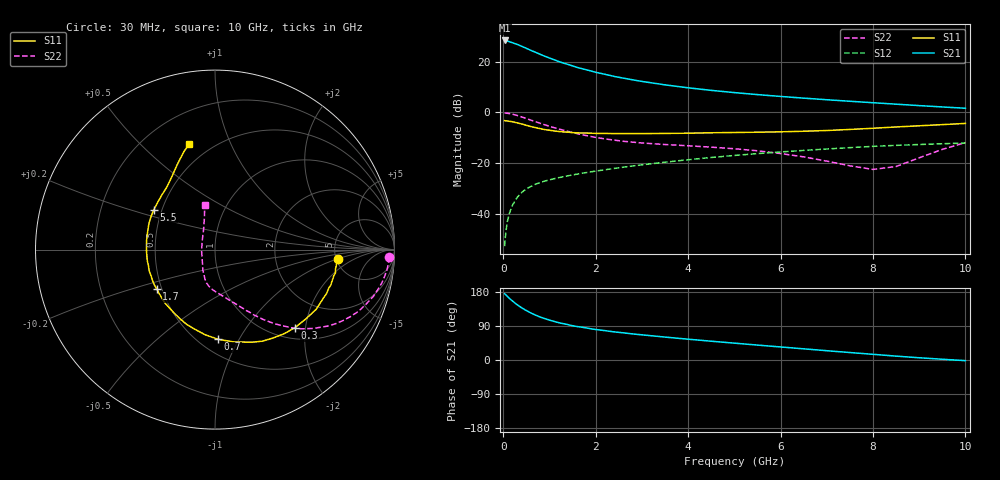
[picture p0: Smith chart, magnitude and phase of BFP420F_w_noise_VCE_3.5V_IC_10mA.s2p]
! Infineon Technologies  Discrete & RF Semiconductors
! BFP420F
! VCE =  3.5 V,  IC =  10 mA
! Common Emitter S-Parameters:  Sep 2011
# GHz  S  MA  R  50
!  f  S11  S21  S12  S22
! GHz  MAG  ANG  MAG  ANG  MAG  ANG  MAG  ANG
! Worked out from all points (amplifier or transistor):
!   54 points, 30 MHz to 10 GHz, reference 50 ohm
!   highest |S21| = 28.4 dB at 30 MHz (marker M1)
!   |S21| within 3 dB of that: start of sweep to 487.3 MHz
!   unconditionally stable (mu >= 1): 2.094 GHz to end of sweep
!   at 120 MHz: K = 0.21, MSG = 34.5 dB, |S12| = -40.9 dB
!   at 1.3 GHz: K = 0.74, MSG = 22.4 dB, |S12| = -25.4 dB
!   at 10 GHz: K = 1.29, MAG = 3.7 dB, |S12| = -12.1 dB
!   lowest NFmin = 1.18 dB at 450 MHz
!   S11 on the Smith chart (normalised r, x): 30 MHz: 5.17, -1.03; 300 MHz: 1.23, -1.75; 700 MHz: 0.62, -0.82; 1.7 GHz: 0.47, -0.24; 5.5 GHz: 0.45, +0.24; 10 GHz: 0.38, +0.71
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0.03  0.6868 -4.4  26.22 175.1  0.0023 75.8  0.9707 -2.5
0.05  0.6819 -7.0  25.9 172.2  0.0037 77.9  0.9698 -4.2
0.07  0.6838 -10.9  25.88 170.4  0.0053 79.7  0.9661 -6.0
0.1  0.6748 -15.6  25.5 166.5  0.0076 79.0  0.9584 -8.5
0.15  0.6635 -23.1  24.53 160.8  0.0112 77.0  0.9413 -12.6
0.25  0.6365 -37.4  22.76 150.7  0.0177 73.1  0.8945 -19.9
0.3  0.6223 -44.4  21.97 146.1  0.0209 70.6  0.87 -23.3
0.35  0.606 -50.8  21.03 141.8  0.0237 68.6  0.8413 -26.4
0.45  0.5746 -62.6  19.24 134.0  0.0287 65.0  0.7862 -31.8
0.6  0.5247 -78.6  16.7 124.0  0.0348 60.6  0.7022 -38.7
0.7  0.5003 -87.9  15.31 118.4  0.0384 58.7  0.6547 -42.4
0.9  0.4582 -104.0  12.8 109.2  0.0442 56.0  0.5687 -48.3
1.1  0.431 -117.3  10.94 101.8  0.0492 54.3  0.4998 -53.3
1.2  0.42 -123.2  10.09 98.5  0.0516 54.0  0.4716 -55.5
1.5  0.3996 -138.3  8.252 90.4  0.0584 53.1  0.4008 -60.9
1.7  0.3916 -146.0  7.29 86.5  0.0628 52.9  0.3635 -64.4
2.4  0.3814 -166.7  5.127 74.2  0.0785 52.2  0.2839 -75.8
3.5  0.3847 172.4  3.493 60.5  0.1043 50.3  0.2324 -90.0
5.5  0.4067 146.8  2.243 39.4  0.1538 42.3  0.1749 -108.5
7  0.4392 127.7  1.776 24.5  0.1897 34.3  0.1094 -129.2
8.5  0.5159 114.3  1.452 10.2  0.2238 25.0  0.0856 146.7
10  0.6056 103.7  1.208 -1.7  0.2489 16.1  0.2534 103.1
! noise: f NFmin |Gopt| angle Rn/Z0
0.45  1.18  0.02  48  0.13
0.9  1.19  0.06  87  0.14
1.9  1.33  0.14  155  0.27
2.4  1.39  0.15  158  0.17
3.5  1.66  0.2  179  0.18
